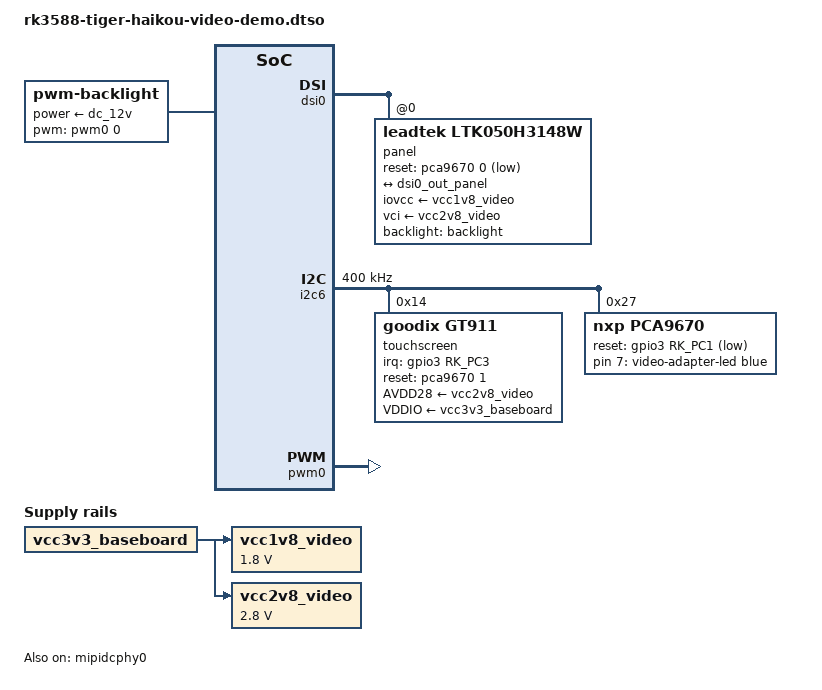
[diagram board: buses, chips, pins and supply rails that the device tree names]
// SPDX-License-Identifier: (GPL-2.0+ OR MIT)
/*
 * Copyright (C) 2024 Cherry Embedded Solutions GmbH
 *
 * DEVKIT ADDON CAM-TS-A01
 * https://embedded.cherry.de/product/development-kit/
 *
 * DT-overlay for the camera / DSI demo appliance for Haikou boards.
 * In the flavour for use with a Tiger system-on-module.
 */

/dts-v1/;
/plugin/;

#include <dt-bindings/gpio/gpio.h>
#include <dt-bindings/interrupt-controller/irq.h>
#include <dt-bindings/leds/common.h>
#include <dt-bindings/pinctrl/rockchip.h>
#include <dt-bindings/soc/rockchip,vop2.h>

&{/} {
	backlight: backlight {
		compatible = "pwm-backlight";
		power-supply = <&dc_12v>;
		pwms = <&pwm0 0 25000 0>;
	};

	vcc1v8_video: regulator-vcc1v8-video {
		compatible = "regulator-fixed";
		regulator-name = "vcc1v8-video";
		regulator-always-on;
		regulator-boot-on;
		regulator-min-microvolt = <1800000>;
		regulator-max-microvolt = <1800000>;
		vin-supply = <&vcc3v3_baseboard>;
	};

	vcc2v8_video: regulator-vcc2v8-video {
		compatible = "regulator-fixed";
		regulator-name = "vcc2v8-video";
		regulator-always-on;
		regulator-boot-on;
		regulator-min-microvolt = <2800000>;
		regulator-max-microvolt = <2800000>;
		vin-supply = <&vcc3v3_baseboard>;
	};

	video-adapter-leds {
		compatible = "gpio-leds";

		video-adapter-led {
			color = <LED_COLOR_ID_BLUE>;
			gpios = <&pca9670 7 GPIO_ACTIVE_HIGH>;
			label = "video-adapter-led";
			linux,default-trigger = "none";
		};
	};
};

&dsi0 {
	#address-cells = <1>;
	#size-cells = <0>;
	status = "okay";

	panel@0 {
		compatible = "leadtek,ltk050h3148w";
		reg = <0>;
		backlight = <&backlight>;
		iovcc-supply = <&vcc1v8_video>;
		reset-gpios = <&pca9670 0 GPIO_ACTIVE_LOW>;
		vci-supply = <&vcc2v8_video>;

		port {
			mipi_panel_in: endpoint {
				remote-endpoint = <&dsi0_out_panel>;
			};
		};
	};
};

&dsi0_in {
	dsi0_in_vp3: endpoint {
		remote-endpoint = <&vp3_out_dsi0>;
	};
};

&dsi0_out {
	dsi0_out_panel: endpoint {
		remote-endpoint = <&mipi_panel_in>;
	};
};

&i2c6 {
	/* OV5675, GT911, DW9714 are limited to 400KHz */
	clock-frequency = <400000>;
	#address-cells = <1>;
	#size-cells = <0>;

	touchscreen@14 {
		compatible = "goodix,gt911";
		reg = <0x14>;
		interrupt-parent = <&gpio3>;
		interrupts = <RK_PC3 IRQ_TYPE_LEVEL_LOW>;
		irq-gpios = <&gpio3 RK_PC3 GPIO_ACTIVE_HIGH>;
		pinctrl-names = "default";
		pinctrl-0 = <&touch_int>;
		reset-gpios = <&pca9670 1 GPIO_ACTIVE_HIGH>;
		AVDD28-supply = <&vcc2v8_video>;
		VDDIO-supply = <&vcc3v3_baseboard>;
	};

	pca9670: gpio@27 {
		compatible = "nxp,pca9670";
		reg = <0x27>;
		gpio-controller;
		#gpio-cells = <2>;
		pinctrl-names = "default";
		pinctrl-0 = <&pca9670_resetn>;
		reset-gpios = <&gpio3 RK_PC1 GPIO_ACTIVE_LOW>;
	};
};

&mipidcphy0 {
	status = "okay";
};

&pinctrl {
	pca9670 {
		pca9670_resetn: pca9670-resetn {
			rockchip,pins = <3 RK_PC1 RK_FUNC_GPIO &pcfg_pull_none>;
		};
	};

	touch {
		touch_int: touch-int {
			rockchip,pins = <3 RK_PC3 RK_FUNC_GPIO &pcfg_pull_none>;
		};
	};
};

&pwm0 {
	status = "okay";
};

&vp3 {
	#address-cells = <1>;
	#size-cells = <0>;

	vp3_out_dsi0: endpoint@ROCKCHIP_VOP2_EP_MIPI0 {
		reg = <ROCKCHIP_VOP2_EP_MIPI0>;
		remote-endpoint = <&dsi0_in_vp3>;
	};
};
